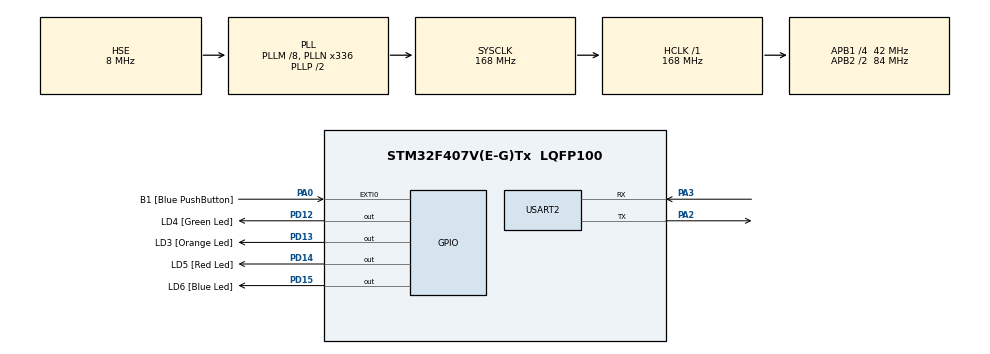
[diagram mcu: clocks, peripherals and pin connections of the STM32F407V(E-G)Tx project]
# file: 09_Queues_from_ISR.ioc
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FREERTOS.Tasks01=defaultTask,24,128,StartDefaultTask,Default,NULL,Dynamic,NULL,NULL
FREERTOS.configCHECK_FOR_STACK_OVERFLOW=2
FREERTOS.configTOTAL_HEAP_SIZE=32768
FREERTOS.configUSE_IDLE_HOOK=0
FREERTOS.configUSE_MALLOC_FAILED_HOOK=1
FREERTOS.configUSE_TICK_HOOK=0
FREERTOS.configUSE_TRACE_FACILITY=1
Mcu.Family=STM32F4
Mcu.Name=STM32F407V(E-G)Tx
Mcu.Package=LQFP100
NVIC.EXTI0_IRQn=true\:5\:0\:false\:false\:true\:true\:true\:true\:true
NVIC.PriorityGroup=NVIC_PRIORITYGROUP_4
NVIC.TIM6_DAC_IRQn=true\:15\:0\:false\:false\:true\:false\:false\:true\:true
NVIC.TimeBase=TIM6_DAC_IRQn
NVIC.TimeBaseIP=TIM6
PA0-WKUP.GPIO_Label=B1 [Blue PushButton]
PA0-WKUP.GPIO_ModeDefaultEXTI=GPIO_MODE_IT_RISING
PA0-WKUP.GPIO_PuPd=GPIO_NOPULL
PA0-WKUP.Signal=GPXTI0
PA13.GPIO_Label=SWDIO
PA13.Mode=Serial_Wire
PA13.Signal=SYS_JTMS-SWDIO
PA14.GPIO_Label=SWCLK
PA14.Mode=Serial_Wire
PA14.Signal=SYS_JTCK-SWCLK
PA2.Mode=Asynchronous
PA2.Signal=USART2_TX
PA3.Mode=Asynchronous
PA3.Signal=USART2_RX
PB3.GPIO_Label=SWO
PB3.Signal=SYS_JTDO-SWO
PC14-OSC32_IN.GPIO_Label=PC14-OSC32_IN
PC14-OSC32_IN.Mode=LSE-External-Oscillator
PC14-OSC32_IN.Signal=RCC_OSC32_IN
PC15-OSC32_OUT.GPIO_Label=PC15-OSC32_OUT
PC15-OSC32_OUT.Mode=LSE-External-Oscillator
PC15-OSC32_OUT.Signal=RCC_OSC32_OUT
PD12.GPIO_Label=LD4 [Green Led]
PD12.GPIO_PuPd=GPIO_NOPULL
PD12.GPIO_Speed=GPIO_SPEED_FREQ_LOW
PD12.Signal=GPIO_Output
PD13.GPIO_Label=LD3 [Orange Led]
PD13.GPIO_PuPd=GPIO_NOPULL
PD13.GPIO_Speed=GPIO_SPEED_FREQ_LOW
PD13.Signal=GPIO_Output
PD14.GPIO_Label=LD5 [Red Led]
PD14.GPIO_PuPd=GPIO_NOPULL
PD14.GPIO_Speed=GPIO_SPEED_FREQ_LOW
PD14.Signal=GPIO_Output
PD15.GPIO_Label=LD6 [Blue Led]
PD15.GPIO_PuPd=GPIO_NOPULL
PD15.GPIO_Speed=GPIO_SPEED_FREQ_LOW
PD15.Signal=GPIO_Output
PH0-OSC_IN.GPIO_Label=PH0-OSC_IN
PH0-OSC_IN.Mode=HSE-External-Oscillator
PH0-OSC_IN.Signal=RCC_OSC_IN
PH1-OSC_OUT.GPIO_Label=PH1-OSC_OUT
PH1-OSC_OUT.Mode=HSE-External-Oscillator
PH1-OSC_OUT.Signal=RCC_OSC_OUT
ProjectManager.HeapSize=0x200
ProjectManager.StackSize=0x400
ProjectManager.TargetToolchain=STM32CubeIDE
RCC.48MHZClocksFreq_Value=48000000
RCC.AHBFreq_Value=168000000
RCC.APB1CLKDivider=RCC_HCLK_DIV4
RCC.APB1Freq_Value=42000000
RCC.APB1TimFreq_Value=84000000
RCC.APB2CLKDivider=RCC_HCLK_DIV2
RCC.APB2Freq_Value=84000000
RCC.APB2TimFreq_Value=168000000
RCC.CortexFreq_Value=168000000
RCC.HCLKFreq_Value=168000000
RCC.HSE_VALUE=8000000
RCC.HSI_VALUE=16000000
RCC.PLLM=8
RCC.PLLN=336
RCC.PLLQ=7
RCC.PLLSourceVirtual=RCC_PLLSOURCE_HSE
RCC.SYSCLKFreq_VALUE=168000000
RCC.SYSCLKSource=RCC_SYSCLKSOURCE_PLLCLK
RCC.VCOOutputFreq_Value=336000000
USART2.VirtualMode=VM_ASYNC
VP_FREERTOS_VS_CMSIS_V2.Mode=CMSIS_V2
VP_SYS_VS_tim6.Mode=TIM6
board=STM32F407G-DISC1

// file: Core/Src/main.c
/* USER CODE BEGIN Header */
/**
  ******************************************************************************
  * @file           : main.c
  * @brief          : Main program body
  ******************************************************************************
  * @attention
  *
  * Copyright (c) 2026 STMicroelectronics.
  * All rights reserved.
  *
  * This software is licensed under terms that can be found in the LICENSE file
  * in the root directory of this software component.
  * If no LICENSE file comes with this software, it is provided AS-IS.
  *
  ******************************************************************************
  */
/* USER CODE END Header */
#include "main.h"

/* USER CODE BEGIN Includes */
#include "FreeRTOS.h"
#include "task.h"
#include "queue.h"
#include <stdio.h>
/* USER CODE END Includes */

UART_HandleTypeDef huart2;

/* USER CODE BEGIN PV */
QueueHandle_t buttonQueue;
TaskHandle_t buttonTaskHandle;
static uint32_t buttonPressCount = 0;
/* USER CODE END PV */

void SystemClock_Config(void);
static void MX_GPIO_Init(void);
static void MX_USART2_UART_Init(void);

/* USER CODE BEGIN PFP */
static void ButtonTask(void *argument);
/* USER CODE END PFP */

int main(void)
{

  /* MCU Configuration--------------------------------------------------------*/

  /* Reset of all peripherals, Initializes the Flash interface and the Systick. */
  HAL_Init();

  /* Configure the system clock */
  SystemClock_Config();

  /* Initialize all configured peripherals */
  MX_GPIO_Init();
  MX_USART2_UART_Init();
  /* USER CODE BEGIN 2 */

  buttonQueue = xQueueCreate(5, sizeof(uint32_t));

  if (buttonQueue == NULL)
  {
      Error_Handler();
  }

  xTaskCreate(ButtonTask, "ButtonTask", 128, NULL, 2, &buttonTaskHandle);

  /* Start FreeRTOS scheduler */
  vTaskStartScheduler();

  /* USER CODE END 2 */

  /* We should never get here as control is now taken by the scheduler */

  /* Infinite loop */
  while (1)
  {

  }
}

void SystemClock_Config(void)
{
  RCC_OscInitTypeDef RCC_OscInitStruct = {0};
  RCC_ClkInitTypeDef RCC_ClkInitStruct = {0};

  /** Configure the main internal regulator output voltage
  */
  __HAL_RCC_PWR_CLK_ENABLE();
  __HAL_PWR_VOLTAGESCALING_CONFIG(PWR_REGULATOR_VOLTAGE_SCALE1);

  /** Initializes the RCC Oscillators according to the specified parameters
  * in the RCC_OscInitTypeDef structure.
  */
  RCC_OscInitStruct.OscillatorType = RCC_OSCILLATORTYPE_HSE;
  RCC_OscInitStruct.HSEState = RCC_HSE_ON;
  RCC_OscInitStruct.PLL.PLLState = RCC_PLL_ON;
  RCC_OscInitStruct.PLL.PLLSource = RCC_PLLSOURCE_HSE;
  RCC_OscInitStruct.PLL.PLLM = 8;
  RCC_OscInitStruct.PLL.PLLN = 336;
  RCC_OscInitStruct.PLL.PLLP = RCC_PLLP_DIV2;
  RCC_OscInitStruct.PLL.PLLQ = 7;
  if (HAL_RCC_OscConfig(&RCC_OscInitStruct) != HAL_OK)
  {
    Error_Handler();
  }

  /** Initializes the CPU, AHB and APB buses clocks
  */
  RCC_ClkInitStruct.ClockType = RCC_CLOCKTYPE_HCLK|RCC_CLOCKTYPE_SYSCLK
                              |RCC_CLOCKTYPE_PCLK1|RCC_CLOCKTYPE_PCLK2;
  RCC_ClkInitStruct.SYSCLKSource = RCC_SYSCLKSOURCE_PLLCLK;
  RCC_ClkInitStruct.AHBCLKDivider = RCC_SYSCLK_DIV1;
  RCC_ClkInitStruct.APB1CLKDivider = RCC_HCLK_DIV4;
  RCC_ClkInitStruct.APB2CLKDivider = RCC_HCLK_DIV2;

  if (HAL_RCC_ClockConfig(&RCC_ClkInitStruct, FLASH_LATENCY_5) != HAL_OK)
  {
    Error_Handler();
  }
}

static void MX_USART2_UART_Init(void)
{

  huart2.Instance = USART2;
  huart2.Init.BaudRate = 115200;
  huart2.Init.WordLength = UART_WORDLENGTH_8B;
  huart2.Init.StopBits = UART_STOPBITS_1;
  huart2.Init.Parity = UART_PARITY_NONE;
  huart2.Init.Mode = UART_MODE_TX_RX;
  huart2.Init.HwFlowCtl = UART_HWCONTROL_NONE;
  huart2.Init.OverSampling = UART_OVERSAMPLING_16;
  if (HAL_UART_Init(&huart2) != HAL_OK)
  {
    Error_Handler();
  }

}

static void MX_GPIO_Init(void)
{
  GPIO_InitTypeDef GPIO_InitStruct = {0};

  /* GPIO Ports Clock Enable */
  __HAL_RCC_GPIOC_CLK_ENABLE();
  __HAL_RCC_GPIOH_CLK_ENABLE();
  __HAL_RCC_GPIOA_CLK_ENABLE();
  __HAL_RCC_GPIOD_CLK_ENABLE();
  __HAL_RCC_GPIOB_CLK_ENABLE();

  /*Configure GPIO pin Output Level */
  HAL_GPIO_WritePin(GPIOD, LD4_Pin|LD3_Pin|LD5_Pin|LD6_Pin, GPIO_PIN_RESET);

  /*Configure GPIO pin : B1_Pin */
  GPIO_InitStruct.Pin = B1_Pin;
  GPIO_InitStruct.Mode = GPIO_MODE_IT_RISING;
  GPIO_InitStruct.Pull = GPIO_NOPULL;
  HAL_GPIO_Init(B1_GPIO_Port, &GPIO_InitStruct);

  /*Configure GPIO pins : LD4_Pin LD3_Pin LD5_Pin LD6_Pin */
  GPIO_InitStruct.Pin = LD4_Pin|LD3_Pin|LD5_Pin|LD6_Pin;
  GPIO_InitStruct.Mode = GPIO_MODE_OUTPUT_PP;
  GPIO_InitStruct.Pull = GPIO_NOPULL;
  GPIO_InitStruct.Speed = GPIO_SPEED_FREQ_LOW;
  HAL_GPIO_Init(GPIOD, &GPIO_InitStruct);

  /* EXTI interrupt init*/
  HAL_NVIC_SetPriority(EXTI0_IRQn, 5, 0);
  HAL_NVIC_EnableIRQ(EXTI0_IRQn);

}

/* USER CODE BEGIN 4 */
static void ButtonTask(void *argument)
{
    uint32_t receivedData;
    char msg[50];
    int len;

    for (;;)
    {
        if (xQueueReceive(buttonQueue, &receivedData, portMAX_DELAY) == pdPASS)
        {
            len = snprintf(msg, sizeof(msg), "Button press count: %lu\r\n", receivedData);

            HAL_UART_Transmit(&huart2, (uint8_t *)msg, len, HAL_MAX_DELAY);
        }
    }
}

void HAL_GPIO_EXTI_Callback(uint16_t GPIO_Pin)
{
    BaseType_t xHigherPriorityTaskWoken = pdFALSE;

    if (GPIO_Pin == B1_Pin)
    {
        buttonPressCount++;

        xQueueSendFromISR(buttonQueue, &buttonPressCount, &xHigherPriorityTaskWoken);

        portYIELD_FROM_ISR(xHigherPriorityTaskWoken);
    }
}
/* USER CODE END 4 */

void HAL_TIM_PeriodElapsedCallback(TIM_HandleTypeDef *htim)
{
  if (htim->Instance == TIM6)
  {
    HAL_IncTick();
  }
}

void Error_Handler(void)
{
  __disable_irq();
  while (1)
  {
  }
}
